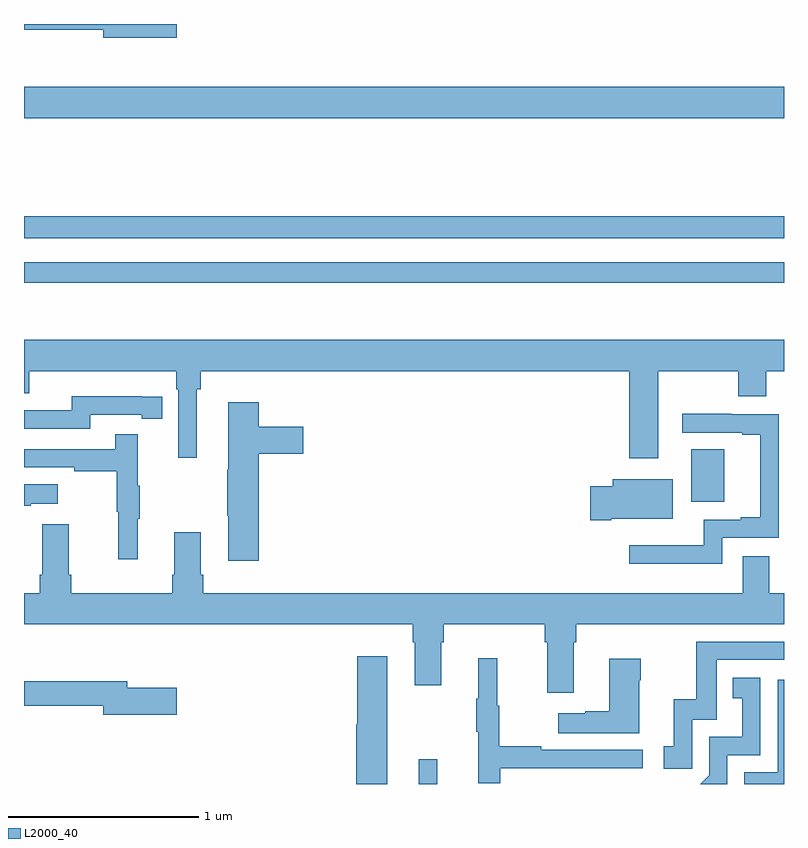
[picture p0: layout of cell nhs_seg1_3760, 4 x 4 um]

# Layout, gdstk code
import gdstk
lib = gdstk.Library(unit=1e-6, precision=1e-09)
def R(c, l, rs):  # rectangles x0, y0, x1, y1
    for r in rs: c.add(gdstk.rectangle(r[:2], r[2:], *l))
def P(c, l, *ps):  # polygons
    for p in ps: c.add(gdstk.Polygon(p, *l))
L2000_40 = (2000, 40)

nhs_seg1_3760 = lib.new_cell('nhs_seg1_3760')
R(nhs_seg1_3760, L2000_40, [(317.078,576.199,317.175,576.328), (318.512,577.685,318.685,577.96), (315,578.838,319,578.946), (315,579.072,319,579.188), (315,579.704,319,579.868)])
P(nhs_seg1_3760, L2000_40, [(315.805,580.199),(315,580.199),(315,580.17),(315.416,580.17),(315.416,580.127),(315.805,580.127)],
  [(318.337,578.372),(318.76,578.372),(318.76,578.241),(318.907,578.241),(318.907,578.372),(319,578.372),(319,578.536),(315,578.536),(315,578.255),(315.028,578.255),(315.028,578.372),(315.8,578.372),(315.8,578.276),(315.813,578.276),(315.813,577.917),(315.91,577.917),(315.91,578.276),(315.929,578.276),(315.929,578.372),(318.185,578.372),(318.185,577.914),(318.337,577.914)],
  [(315.348,578.142),(315.62,578.142),(315.62,578.122),(315.728,578.122),(315.728,578.238),(315.62,578.238),(315.62,578.239),(315.252,578.239),(315.252,578.166),(315,578.166),(315,578.07),(315.348,578.07)],
  [(316.235,577.937),(316.471,577.937),(316.471,578.079),(316.235,578.079),(316.235,578.209),(316.076,578.209),(316.076,577.853),(316.069,577.853),(316.069,577.612),(316.076,577.612),(316.076,577.374),(316.235,577.374)],
  [(318.675,577.494),(318.972,577.494),(318.972,578.145),(318.723,578.145),(318.723,578.148),(318.465,578.148),(318.465,578.049),(318.779,578.049),(318.779,578.037),(318.875,578.037),(318.875,577.603),(318.772,577.603),(318.772,577.59),(318.578,577.59),(318.578,577.456),(318.186,577.456),(318.186,577.358),(318.675,577.358)],
  [(315.599,577.595),(315.61,577.595),(315.61,577.769),(315.599,577.769),(315.599,578.041),(315.481,578.041),(315.481,577.962),(315,577.962),(315,577.866),(315.265,577.866),(315.265,577.846),(315.489,577.846),(315.489,577.632),(315.496,577.632),(315.496,577.383),(315.599,577.383)],
  [(318.091,577.595),(318.415,577.595),(318.415,577.804),(318.098,577.804),(318.098,577.766),(317.979,577.766),(317.979,577.588),(318.091,577.588)],
  [(315.035,577.673),(315.178,577.673),(315.178,577.777),(315,577.777),(315,577.663),(315.035,577.663)],
  [(317.893,576.944),(317.906,576.944),(317.906,577.04),(319,577.04),(319,577.204),(318.922,577.204),(318.922,577.399),(318.782,577.399),(318.782,577.204),(315.944,577.204),(315.944,577.3),(315.931,577.3),(315.931,577.525),(315.791,577.525),(315.791,577.3),(315.779,577.3),(315.779,577.204),(315.248,577.204),(315.248,577.3),(315.235,577.3),(315.235,577.567),(315.095,577.567),(315.095,577.3),(315.083,577.3),(315.083,577.204),(315,577.204),(315,577.04),(317.045,577.04),(317.045,576.944),(317.057,576.944),(317.057,576.72),(317.197,576.72),(317.197,576.944),(317.21,576.944),(317.21,577.04),(317.741,577.04),(317.741,576.944),(317.753,576.944),(317.753,576.678),(317.893,576.678)],
  [(318.516,576.537),(318.645,576.537),(318.645,576.852),(319,576.852),(319,576.948),(318.537,576.948),(318.537,576.646),(318.419,576.646),(318.419,576.399),(318.366,576.399),(318.366,576.279),(318.516,576.279)],
  [(316.912,576.871),(316.754,576.871),(316.754,576.513),(316.748,576.513),(316.748,576.199),(316.912,576.199)],
  [(317.507,576.282),(318.256,576.282),(318.256,576.378),(317.723,576.378),(317.723,576.398),(317.5,576.398),(317.5,576.612),(317.492,576.612),(317.492,576.862),(317.39,576.862),(317.39,576.649),(317.379,576.649),(317.379,576.475),(317.39,576.475),(317.39,576.204),(317.507,576.204)],
  [(318.238,576.746),(318.246,576.746),(318.246,576.859),(318.08,576.859),(318.08,576.581),(317.954,576.581),(317.954,576.571),(317.811,576.571),(317.811,576.467),(318.238,576.467)],
  [(318.702,576.351),(318.876,576.351),(318.876,576.757),(318.73,576.757),(318.73,576.651),(318.779,576.651),(318.779,576.447),(318.606,576.447),(318.606,576.246),(318.559,576.199),(318.702,576.199)],
  [(319,576.747),(318.966,576.747),(318.966,576.261),(318.792,576.261),(318.792,576.199),(319,576.199)],
  [(315.805,576.705),(315.544,576.705),(315.544,576.739),(315,576.739),(315,576.61),(315.416,576.61),(315.416,576.563),(315.805,576.563)])

lib.write_gds('nhs_seg1_3760.gds')
